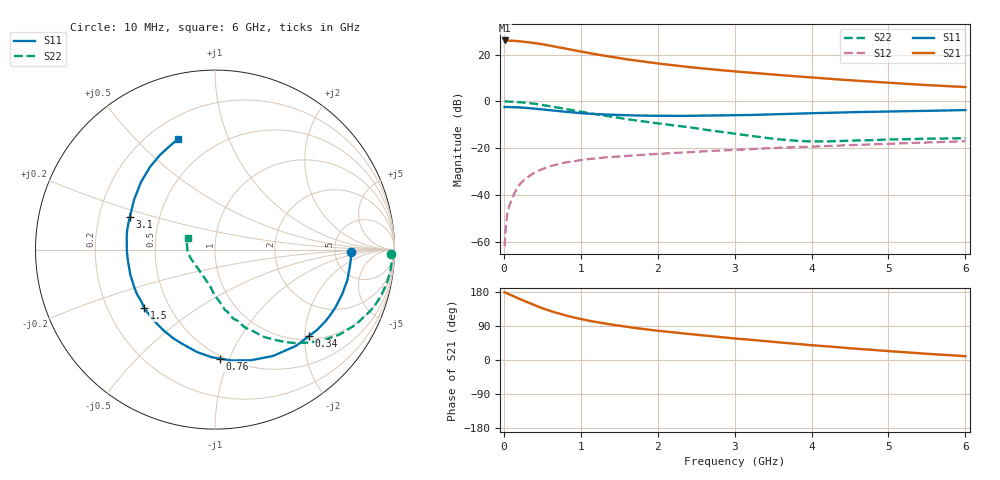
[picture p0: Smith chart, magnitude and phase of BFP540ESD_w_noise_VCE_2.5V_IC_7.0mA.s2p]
! Infineon Technologies  Discrete & RF Semiconductors
! BFP540ESD
! VCE =  2.5 V,  IC =  7.0 mA
! Common Emitter S-Parameters:  Nov 2015
# GHz  S  MA  R  50
!  f  S11  S21  S12  S22
! GHz  MAG  ANG  MAG  ANG  MAG  ANG  MAG  ANG
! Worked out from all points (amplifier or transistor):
!   210 points, 10 MHz to 6 GHz, reference 50 ohm
!   highest |S21| = 26.1 dB at 10 MHz (marker M1)
!   |S21| within 3 dB of that: start of sweep to 727.7 MHz
!   unconditionally stable (mu >= 1): 3.003 GHz to end of sweep
!   at 185 MHz: K = 0.07, MSG = 31.1 dB, |S12| = -36.5 dB
!   at 1.52 GHz: K = 0.61, MSG = 21.0 dB, |S12| = -23.5 dB
!   at 6 GHz: K = 1.18, MAG = 9.0 dB, |S12| = -17.0 dB
!   lowest NFmin = 0.76 dB at 900 MHz
!   S11 on the Smith chart (normalised r, x): 10 MHz: 7.15, -0.44; 340 MHz: 1.07, -2.09; 760 MHz: 0.48, -0.92; 1.5 GHz: 0.36, -0.32; 3.1 GHz: 0.34, +0.16; 6 GHz: 0.32, +0.67
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0.01  0.7555 -1.0  20.07 178.7  0.0008 113.0  0.9789 -1.4
0.025  0.759 -3.5  19.93 177.6  0.002 84.0  0.9979 -1.8
0.05  0.7577 -6.3  19.9 175.2  0.0044 95.2  0.9879 -3.6
0.15  0.7509 -19.3  19.65 166.1  0.0118 80.7  0.9755 -11.0
0.26  0.7331 -33.1  18.9 156.2  0.0206 75.2  0.9447 -18.9
0.34  0.711 -42.8  18.18 149.4  0.0259 71.9  0.9119 -24.1
0.4  0.701 -50.0  17.66 144.3  0.03 69.0  0.8888 -28.1
0.5  0.6745 -61.6  16.69 136.5  0.0355 64.2  0.8399 -34.3
0.6  0.6478 -72.2  15.53 129.5  0.041 60.4  0.7883 -39.6
0.7  0.6242 -81.7  14.51 123.6  0.0452 56.5  0.7386 -44.5
0.76  0.6075 -87.6  13.87 120.2  0.0476 54.8  0.7082 -47.2
0.9  0.5798 -99.8  12.5 112.6  0.0522 51.0  0.6441 -53.0
1.02  0.556 -109.2  11.48 107.3  0.0562 48.2  0.5938 -57.3
1.2  0.5339 -122.3  10.12 100.1  0.0603 45.4  0.5287 -62.8
1.5  0.5112 -140.3  8.402 90.3  0.0663 41.4  0.4413 -70.6
1.7  0.5006 -150.5  7.526 84.6  0.0699 39.4  0.395 -75.5
2.02  0.4913 -164.5  6.418 76.8  0.0754 37.5  0.3364 -80.9
2.58  0.4943 174.8  5.061 65.0  0.0848 34.4  0.2525 -90.8
3.1  0.5081 159.1  4.237 55.2  0.0933 31.9  0.1933 -101.0
4.1  0.5626 135.6  3.151 37.6  0.1091 26.5  0.139 -144.6
5.1  0.6129 118.9  2.448 22.0  0.1251 20.7  0.1538 -180.0
6  0.65 108.3  2.025 10.0  0.1407 16.3  0.1636 156.8
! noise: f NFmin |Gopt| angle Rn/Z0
0.9  0.76  0.01  -71  0.11
1.8  0.97  0.09  177  0.11
2.4  0.98  0.11  174  0.1
3  1.11  0.19  -171  0.09
4  1.26  0.31  -120  0.15
5  1.48  0.43  -96  0.28
6  1.73  0.52  -98  0.43
